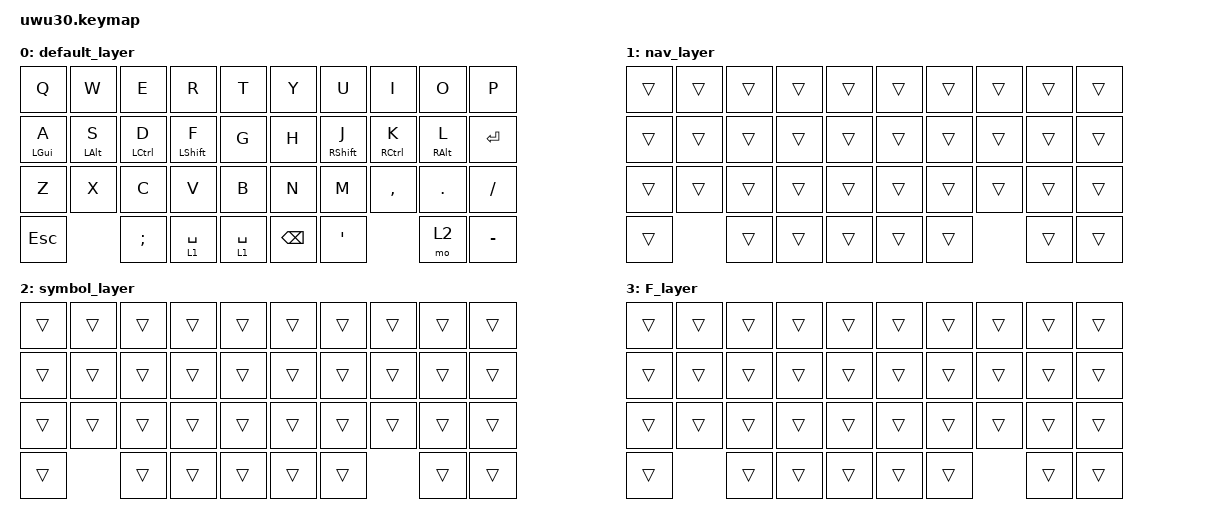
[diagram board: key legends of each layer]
/*
 * Copyright (c) 2022 The ZMK Contributors
 *
 * SPDX-License-Identifier: MIT
 */

#include <behaviors.dtsi>
#include <dt-bindings/zmk/keys.h>
#include <dt-bindings/zmk/bt.h>
#include <dt-bindings/zmk/outputs.h>

/ {
	keymap {
		compatible = "zmk,keymap";

		default_layer {
			bindings = <
   	&kp Q			&kp W			&kp E			&kp R			&kp T			&kp Y			&kp U			&kp I			&kp O			&kp P			
	&mt LGUI A		&mt LALT S		&mt LCTRL D		&mt LSHFT F		&kp G			&kp H		    &mt RSHFT J		&mt RCTRL K		&mt RALT L		&kp ENTER	
	&kp Z			&kp X			&kp C			&kp V			&kp B		    &kp N			&kp M			&kp COMMA		&kp DOT			&kp SLASH
	&kp ESC							&kp SEMI		&lt 1 SPACE		&lt 1 SPACE	    &kp BSPC		&kp SQT		                    &mo 2			&kp MINUS
    
			>;
		};

		nav_layer {
			bindings = <
	&trans			&trans			&trans			&trans			&trans			&trans			&trans			&trans			&trans			&trans		
	&trans		    &trans		    &trans		    &trans	        &trans			&trans		    &trans	        &trans		    &trans		    &trans	
	&trans			&trans			&trans			&trans			&trans		    &trans			&trans			&trans		    &trans		    &trans
	&trans						    &trans	        &trans		    &trans	        &trans		    &trans	                        &trans			&trans
			>;
		};

		symbol_layer {
			bindings = <
    &trans			&trans			&trans			&trans			&trans			&trans			&trans			&trans			&trans			&trans		
	&trans		    &trans		    &trans		    &trans	        &trans			&trans		    &trans	        &trans		    &trans		    &trans	
	&trans			&trans			&trans			&trans			&trans		    &trans			&trans			&trans		    &trans		    &trans
	&trans						    &trans	        &trans		    &trans	        &trans		    &trans	                        &trans			&trans
			>;
		};

		F_layer {
			bindings = <
	&trans			&trans			&trans			&trans			&trans			&trans			&trans			&trans			&trans			&trans		
	&trans		    &trans		    &trans		    &trans	        &trans			&trans		    &trans	        &trans		    &trans		    &trans	
	&trans			&trans			&trans			&trans			&trans		    &trans			&trans			&trans		    &trans		    &trans
	&trans						    &trans	        &trans		    &trans	        &trans		    &trans	                        &trans			&trans
			>;
		};
	};
};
